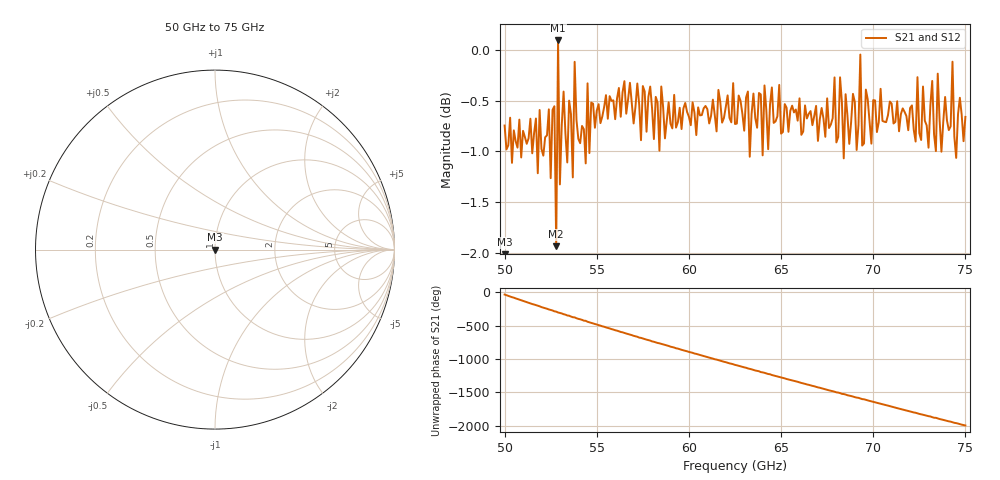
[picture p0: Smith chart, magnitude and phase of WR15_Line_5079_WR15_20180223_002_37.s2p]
# GHZ S RI R 50
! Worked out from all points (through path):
!   251 points, 50 GHz to 75 GHz, reference 50 ohm
!   highest |S21| = 0.09 dB at 52.9 GHz (marker M1); lowest = -1.9 dB at 52.8 GHz (marker M2)
!   lowest |S11| = - dB at 50 GHz (marker M3), VSWR 1.00, Z = 50 - j2.43e-16 ohm
!   |S11| at or under -10 dB: start of sweep to end of sweep
!   |S22| runs from - to - dB; largest |S21 - S12| = 2e-15
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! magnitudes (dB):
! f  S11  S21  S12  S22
! 50 GHz  -  -0.7  -0.7  -
! 51.8 GHz  -  -1.2  -1.2  -
! 52.4 GHz  -  -0.6  -0.6  -
! 52.5 GHz  -  -1.3  -1.3  -
! 52.7 GHz  -  -0.6  -0.6  -
! 52.8 GHz  -  -1.9  -1.9  -
! 52.9 GHz  -  0.1  0.1  -
! 53 GHz  -  -1.3  -1.3  -
! 53.2 GHz  -  -0.4  -0.4  -
! 53.7 GHz  -  -1.3  -1.3  -
! 53.8 GHz  -  -0.1  -0.1  -
! 54.2 GHz  -  -0.8  -0.8  -
! 57.9 GHz  -  -0.4  -0.4  -
! 58.4 GHz  -  -1.0  -1.0  -
! 58.5 GHz  -  -0.4  -0.4  -
! 62.5 GHz  -  -0.7  -0.7  -
! 66.7 GHz  -  -0.7  -0.7  -
! 69.1 GHz  -  -1.0  -1.0  -
! 69.3 GHz  -  0.0  0.0  -
! 69.4 GHz  -  -0.9  -0.9  -
! 70.9 GHz  -  -0.5  -0.5  -
! 75 GHz  -  -0.7  -0.7  -
